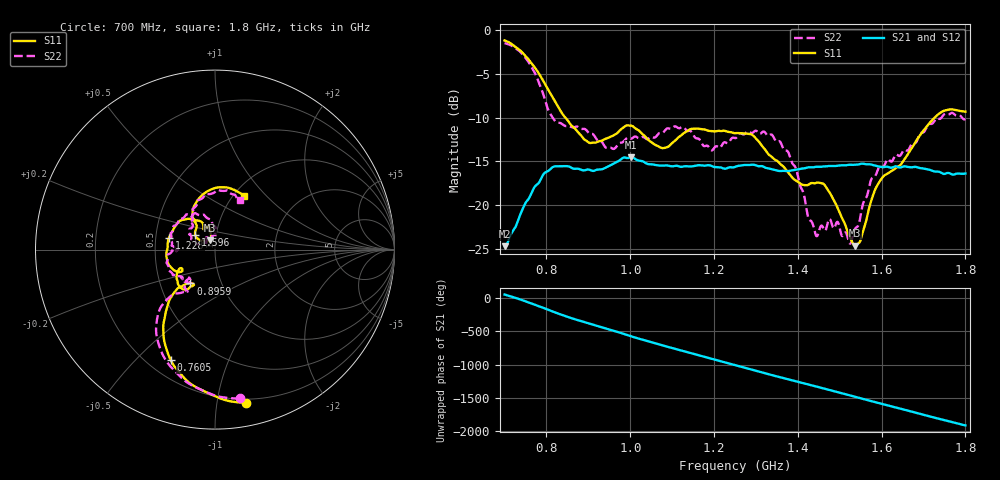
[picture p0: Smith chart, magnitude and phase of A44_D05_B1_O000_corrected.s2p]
! Created with skrf 1.9.0 (http://scikit-rf.org).
# Hz S RI R 50.0
!freq ReS11 ImS11 ReS21 ImS21 ReS12 ImS12 ReS22 ImS22
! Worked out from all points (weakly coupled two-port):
!   1601 points, 700 MHz to 1.8 GHz, reference 50 ohm
!   highest |S21| = -14.53 dB at 1.002 GHz (marker M1); lowest = -24.7 dB at 700 MHz (marker M2)
!   lowest |S11| = -24.6 dB at 1.537 GHz (marker M3), VSWR 1.12, Z = 47 + j4.86 ohm
!   |S11| at or under -10 dB: 845 MHz to 1.727 GHz (881.5 MHz wide, 68.6 % of centre)
!   |S22| runs from -24.4 to -1.5 dB; largest |S21 - S12| = 0.0034
!   S11 on the Smith chart (normalised r, x): 700 MHz: 0.17, -1.21; 760.5 MHz: 0.29, -0.64; 895.9 MHz: 0.71, -0.28; 1.228 GHz: 0.59, +0.08; 1.596 GHz: 0.79, +0.13; 1.8 GHz: 1.12, +0.76
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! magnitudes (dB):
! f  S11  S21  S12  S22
! 700 MHz  -1.2  -24.7  -24.4  -1.5
! 760.5 MHz  -3.6  -19.0  -18.9  -3.9
! 818.2 MHz  -8.0  -15.6  -15.7  -10.3
! 883.6 MHz  -12.1  -16.0  -15.9  -11.3
! 895.9 MHz  -12.7  -15.9  -16.0  -11.5
! 944.8 MHz  -12.4  -15.6  -15.7  -13.5
! 1.002 GHz  -10.9  -14.5  -14.6  -12.4
! 1.067 GHz  -13.3  -15.5  -15.4  -11.8
! 1.146 GHz  -11.3  -15.6  -15.6  -11.6
! 1.228 GHz  -11.5  -15.8  -15.7  -12.8
! 1.25 GHz  -11.8  -15.6  -15.6  -12.3
! 1.357 GHz  -15.3  -16.1  -16.0  -12.7
! 1.394 GHz  -17.2  -16.0  -15.9  -15.7
! 1.434 GHz  -17.5  -15.7  -15.6  -21.9
! 1.467 GHz  -17.9  -15.6  -15.5  -22.8
! 1.495 GHz  -20.3  -15.5  -15.5  -21.9
! 1.524 GHz  -23.7  -15.4  -15.4  -24.4
! 1.537 GHz  -24.6  -15.4  -15.4  -22.7
! 1.596 GHz  -17.2  -15.6  -15.6  -15.5
! 1.617 GHz  -16.3  -15.6  -15.6  -14.8
! 1.735 GHz  -9.6  -16.2  -16.2  -10.1
! 1.8 GHz  -9.3  -16.4  -16.4  -10.2
